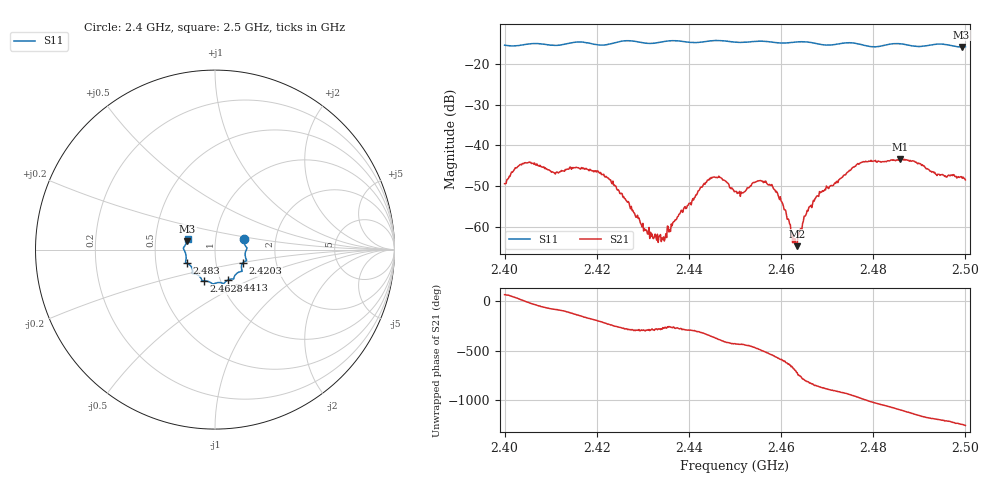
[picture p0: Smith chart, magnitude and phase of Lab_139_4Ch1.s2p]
# Hz S RI R 50
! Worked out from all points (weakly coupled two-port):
!   601 points, 2.4 GHz to 2.5 GHz, reference 50 ohm
!   highest |S21| = -43.42 dB at 2.4858 GHz (marker M1); lowest = -64.8 dB at 2.4635 GHz (marker M2)
!   lowest |S11| = -15.8 dB at 2.4992 GHz (marker M3), VSWR 1.39, Z = 36.4 + j3.55 ohm
!   |S11| at or under -10 dB: start of sweep to end of sweep
!   S12 and S22 are empty: the file has one direction only
!   S11 on the Smith chart (normalised r, x): 2.4 GHz: 1.37, +0.16; 2.4203 GHz: 1.35, -0.21; 2.4413 GHz: 1.09, -0.38; 2.4628 GHz: 0.83, -0.30; 2.483 GHz: 0.72, -0.11; 2.5 GHz: 0.73, +0.09
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2.4e9  0.1607 0.057  0.00135 0.00311  0 0  0 0
2.404833e9  0.1749 0.0138  0.00605 -0.000737  0 0  0 0
2.410667e9  0.1687 -0.0171  0.000775 -0.00456  0 0  0 0
2.416667e9  0.176 -0.0615  -0.00467 -0.00259  0 0  0 0
2.420333e9  0.1552 -0.0739  -0.00453 0.00161  0 0  0 0
2.430667e9  0.1261 -0.1291  0.00034 0.000851  0 0  0 0
2.433333e9  0.108 -0.1484  9.09e-05 0.000635  0 0  0 0
2.434667e9  0.1054 -0.1576  -1.81e-06 0.000667  0 0  0 0
2.441333e9  0.0744 -0.1681  0.00114 0.002  0 0  0 0
2.445333e9  0.0513 -0.1873  0.00408 -0.000162  0 0  0 0
2.45e9  0.0293 -0.1836  0.00105 -0.0025  0 0  0 0
2.457833e9  -0.0217 -0.1856  -0.00322 -0.000138  0 0  0 0
2.460333e9  -0.0418 -0.1765  -0.00101 0.00164  0 0  0 0
2.462833e9  -0.0628 -0.1747  0.000506 0.000374  0 0  0 0
2.4635e9  -0.0666 -0.175  0.000577 1.01e-05  0 0  0 0
2.466667e9  -0.0744 -0.1675  -0.00067 -0.00158  0 0  0 0
2.476833e9  -0.1244 -0.1256  -0.00191 0.00554  0 0  0 0
2.483e9  -0.1548 -0.0767  0.00594 0.00242  0 0  0 0
2.483333e9  -0.1571 -0.0757  0.0061 0.00212  0 0  0 0
2.485833e9  -0.164 -0.0686  0.00652 -0.00175  0 0  0 0
2.499167e9  -0.155 0.0474  -0.00392 -0.00129  0 0  0 0
2.5e9  -0.1527 0.0587  -0.00374 -0.000496  0 0  0 0
